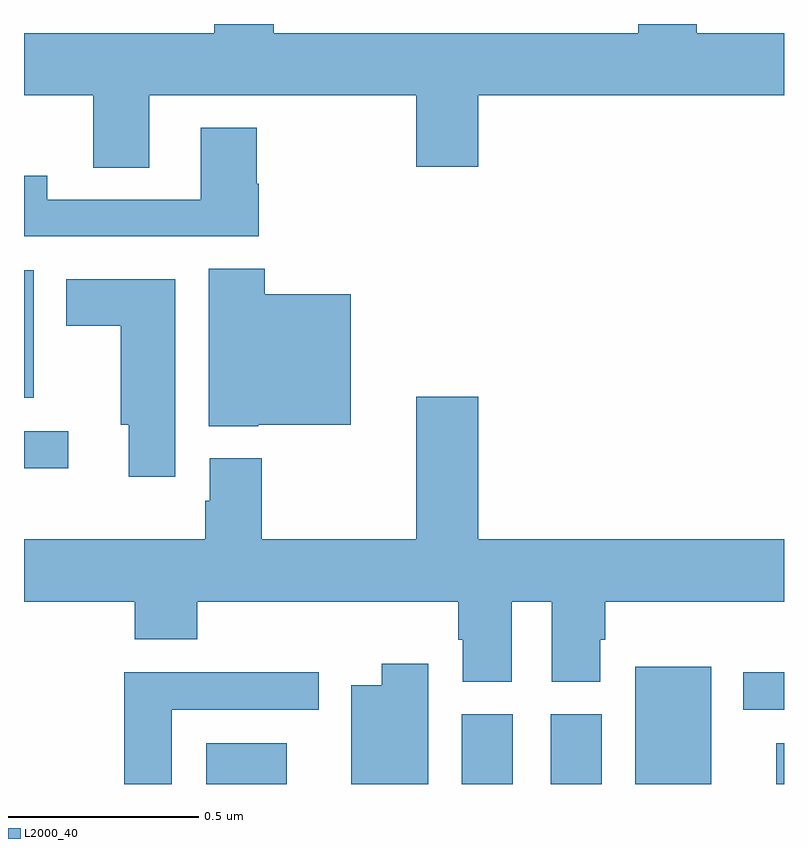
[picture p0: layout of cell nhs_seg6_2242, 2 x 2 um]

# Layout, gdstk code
import gdstk
lib = gdstk.Library(unit=1e-6, precision=1e-09)
def R(c, l, rs):  # rectangles x0, y0, x1, y1
    for r in rs: c.add(gdstk.rectangle(r[:2], r[2:], *l))
def P(c, l, *ps):  # polygons
    for p in ps: c.add(gdstk.Polygon(p, *l))
L2000_40 = (2000, 40)

nhs_seg6_2242 = lib.new_cell('nhs_seg6_2242')
R(nhs_seg6_2242, L2000_40, [(140.48,969.5,140.692,969.607), (141.152,969.5,141.286,969.684), (141.386,969.5,141.52,969.684), (141.608,969.5,141.808,969.808), (141.98,969.5,142,969.607), (141.893,969.696,142,969.794), (140,970.331,140.116,970.428), (140,970.517,140.026,970.852)])
P(nhs_seg6_2242, L2000_40, [(140.329,971.312),(141.032,971.312),(141.032,971.124),(141.196,971.124),(141.196,971.312),(142,971.312),(142,971.476),(141.77,971.476),(141.77,971.5),(141.617,971.5),(141.617,971.476),(140.657,971.476),(140.657,971.5),(140.501,971.5),(140.501,971.476),(140,971.476),(140,971.312),(140.182,971.312),(140.182,971.122),(140.329,971.122)],
  [(140.618,971.079),(140.613,971.079),(140.613,971.227),(140.465,971.227),(140.465,971.037),(140.061,971.037),(140.061,971.101),(140,971.101),(140,970.941),(140.618,970.941)],
  [(140.616,970.445),(140.86,970.445),(140.86,970.789),(140.633,970.789),(140.633,970.856),(140.486,970.856),(140.486,970.442),(140.616,970.442)],
  [(140.398,970.828),(140.111,970.828),(140.111,970.706),(140.255,970.706),(140.255,970.446),(140.276,970.446),(140.276,970.308),(140.398,970.308)],
  [(141.283,969.98),(141.389,969.98),(141.389,969.769),(141.517,969.769),(141.517,969.879),(141.53,969.879),(141.53,969.98),(142,969.98),(142,970.144),(141.196,970.144),(141.196,970.519),(141.032,970.519),(141.032,970.144),(140.625,970.144),(140.625,970.357),(140.489,970.357),(140.489,970.245),(140.477,970.245),(140.477,970.144),(140,970.144),(140,969.98),(140.291,969.98),(140.291,969.881),(140.456,969.881),(140.456,969.98),(141.143,969.98),(141.143,969.879),(141.155,969.879),(141.155,969.769),(141.283,969.769)],
  [(141.064,969.817),(140.942,969.817),(140.942,969.76),(140.861,969.76),(140.861,969.5),(141.064,969.5)],
  [(140.389,969.696),(140.776,969.696),(140.776,969.794),(140.264,969.794),(140.264,969.5),(140.389,969.5)])

lib.write_gds('nhs_seg6_2242.gds')
